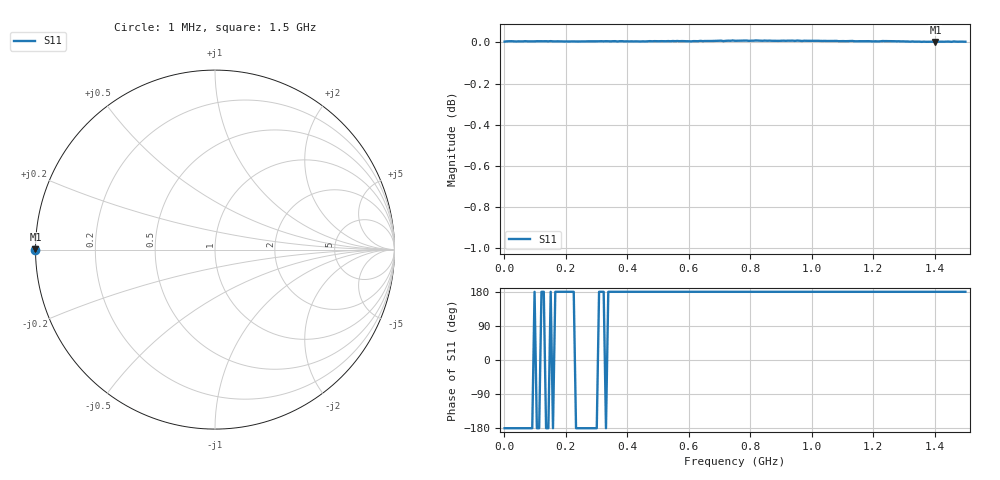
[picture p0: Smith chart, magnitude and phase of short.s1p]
! Created with skrf 1.8.0 (http://scikit-rf.org).
# Hz S RI R 50.0
!freq ReS11 ImS11
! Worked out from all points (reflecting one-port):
!   201 points, 1 MHz to 1.5 GHz, reference 50 ohm
!   lowest |S11| = 0.0 dB at 1.403 GHz (marker M1)
!   phase of S11 starts at -180 deg and turns -0 deg over the sweep
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1000000  -1 -1.45e-05
2.3485e7  -1.001 -4.68e-05
1.88375e8  -1.001 4.71e-05
3.008e8  -1.001 -9.93e-05
3.7575e8  -1.001 0.0001
4.43205e8  -1.001 0.000129
5.63125e8  -1.001 0.000123
6.08095e8  -1.001 0.000307
6.38075e8  -1.001 0.000159
6.4557e8  -1.001 0.000241
7.0553e8  -1.001 0.000375
7.13025e8  -1.001 0.000391
7.43005e8  -1.001 0.000394
7.505e8  -1.001 0.000424
8.32945e8  -1.001 0.000215
9.37875e8  -1.001 0.000307
9.67855e8  -1.001 0.00053
1.12525e9  -1.001 0.000507
1.162725e9  -1.001 0.000557
1.2002e9  -1.001 0.00095
1.237675e9  -1.001 0.00106
1.312625e9  -1.001 0.00101
1.402565e9  -1 0.00118
1.42505e9  -1 0.0011
1.44004e9  -1.001 0.00131
1.45503e9  -1 0.00111
1.462525e9  -1.001 0.00114
1.5e9  -1 0.00114
